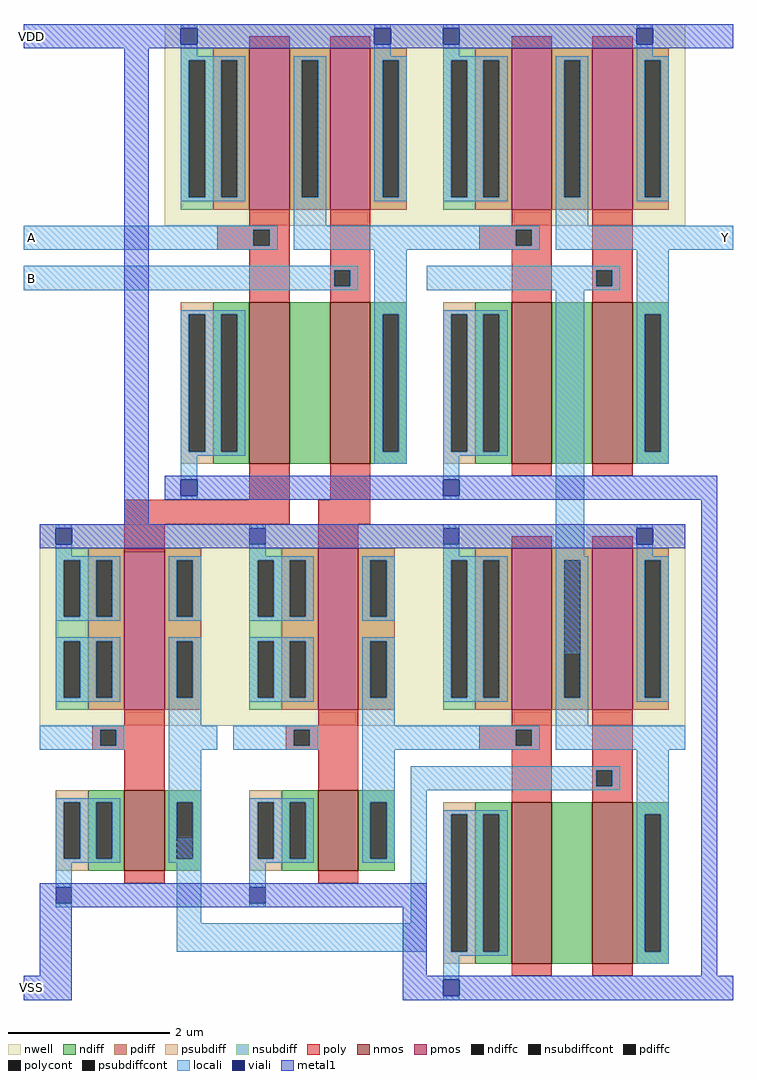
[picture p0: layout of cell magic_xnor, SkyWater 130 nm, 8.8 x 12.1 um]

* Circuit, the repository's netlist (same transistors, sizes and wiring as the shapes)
* NGSPICE file created from magic_xnor.ext - technology: sky130A

.subckt magic_nand A B Y VDD VSS
X0 Y A VDD VDD sky130_fd_pr__pfet_01v8 ad=0.5 pd=2.5 as=0.9 ps=4.9 w=2 l=0.5
**devattr s=36000,980 d=20000,500
X1 Y B a_100_n230# VSS sky130_fd_pr__nfet_01v8 ad=0.9 pd=4.9 as=0.5 ps=2.5 w=2 l=0.5
**devattr s=20000,500 d=36000,980
X2 a_100_n230# A VSS VSS sky130_fd_pr__nfet_01v8 ad=0.5 pd=2.5 as=0.9 ps=4.9 w=2 l=0.5
**devattr s=36000,980 d=20000,500
X3 VDD B Y VDD sky130_fd_pr__pfet_01v8 ad=0.9 pd=4.9 as=0.5 ps=2.5 w=2 l=0.5
**devattr s=20000,500 d=36000,980
.ends

.subckt magic_inv X Y VDD VSS
X0 Y X VDD VDD sky130_fd_pr__pfet_01v8 ad=0.9 pd=4.9 as=0.9 ps=4.9 w=2 l=0.5
**devattr s=36000,980 d=36000,980
X1 Y X VSS VSS sky130_fd_pr__nfet_01v8 ad=0.45 pd=2.9 as=0.45 ps=2.9 w=1 l=0.5
**devattr s=18000,580 d=18000,580
.ends

*.subckt magic_xnor A B Y VDD VSS
Xmagic_nand_0 magic_nand_1/Y magic_nand_2/Y Y VDD VSS magic_nand
Xmagic_nand_1 A B magic_nand_1/Y VDD VSS magic_nand
Xmagic_nand_2 magic_inv_0/Y magic_inv_1/Y magic_nand_2/Y VDD VSS magic_nand
Xmagic_inv_0 B magic_inv_0/Y VDD VSS magic_inv
Xmagic_inv_1 A magic_inv_1/Y VDD VSS magic_inv
*.ends

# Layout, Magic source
magic
tech sky130A
<< nwell >>
rect -25 340 40 590
rect -280 -280 50 -30
<< poly >>
rect -220 0 -170 35
rect -120 0 -70 35
rect -375 -30 -170 0
rect -135 -30 -70 0
rect -375 -65 -325 -30
rect -135 -50 -85 -30
<< locali >>
rect -500 310 -325 340
rect -20 310 30 340
rect 315 310 380 340
rect -500 260 -325 290
rect 160 -190 195 290
rect -35 -310 15 -280
rect -310 -525 -280 -420
rect -20 -525 0 -330
rect -310 -560 0 -525
<< metal1 >>
rect -500 560 -310 590
rect -30 560 20 590
rect 320 560 380 590
rect -375 -60 -345 560
rect 325 0 360 30
rect -275 -60 65 -30
rect -480 -590 -440 -475
rect -370 -505 0 -475
rect -500 -620 -440 -590
rect -30 -620 0 -505
rect 340 -590 360 0
rect 320 -620 380 -590
use magic_inv  magic_inv_0
transform 1 0 -135 0 1 -460
box -105 -45 115 430
use magic_inv  magic_inv_1
transform 1 0 -375 0 1 -460
box -105 -45 115 430
use magic_nand  magic_nand_0
transform 1 0 105 0 1 160
box -105 -160 220 430
use magic_nand  magic_nand_1
transform 1 0 -220 0 1 160
box -105 -160 220 430
use magic_nand  magic_nand_2
transform 1 0 105 0 1 -460
box -105 -160 220 430
<< labels >>
rlabel locali -500 310 -480 340 7 A
port 1 w
rlabel locali -500 260 -480 290 7 B
port 2 w
rlabel locali 360 310 380 340 3 Y
port 3 e
rlabel metal1 -500 560 -480 590 7 VDD
port 4 w
rlabel metal1 -500 -620 -480 -590 7 VSS
port 5 w
<< end >>

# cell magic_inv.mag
magic
tech sky130A
<< nwell >>
rect -105 180 115 430
<< nmos >>
rect 0 0 50 100
<< pmos >>
rect 0 200 50 400
<< ndiff >>
rect -45 85 0 100
rect -45 15 -35 85
rect -15 15 0 85
rect -45 0 0 15
rect 50 85 95 100
rect 50 15 65 85
rect 85 15 95 85
rect 50 0 95 15
<< pdiff >>
rect -45 385 0 400
rect -45 315 -35 385
rect -15 315 0 385
rect -45 285 0 315
rect -45 215 -35 285
rect -15 215 0 285
rect -45 200 0 215
rect 50 385 95 400
rect 50 315 65 385
rect 85 315 95 385
rect 50 285 95 315
rect 50 215 65 285
rect 85 215 95 285
rect 50 200 95 215
<< ndiffc >>
rect -35 15 -15 85
rect 65 15 85 85
<< pdiffc >>
rect -35 315 -15 385
rect -35 215 -15 285
rect 65 315 85 385
rect 65 215 85 285
<< psubdiff >>
rect -85 85 -45 100
rect -85 15 -75 85
rect -55 15 -45 85
rect -85 0 -45 15
<< nsubdiff >>
rect -85 385 -45 400
rect -85 315 -75 385
rect -55 315 -45 385
rect -85 285 -45 315
rect -85 215 -75 285
rect -55 215 -45 285
rect -85 200 -45 215
<< psubdiffcont >>
rect -75 15 -55 85
<< nsubdiffcont >>
rect -75 315 -55 385
rect -75 215 -55 285
<< poly >>
rect 0 400 50 415
rect 0 180 50 200
rect -40 175 50 180
rect -40 155 -30 175
rect -10 155 50 175
rect -40 150 50 155
rect 0 100 50 150
rect 0 -15 50 0
<< polycont >>
rect -30 155 -10 175
<< locali >>
rect -85 425 -65 430
rect -85 390 -65 405
rect -85 385 -5 390
rect -85 315 -75 385
rect -55 315 -35 385
rect -15 315 -5 385
rect -85 310 -5 315
rect 55 385 95 390
rect 55 315 65 385
rect 85 315 95 385
rect 55 310 95 315
rect -85 285 -5 290
rect -85 215 -75 285
rect -55 215 -35 285
rect -15 215 -5 285
rect -85 210 -5 215
rect 55 285 95 290
rect 55 215 65 285
rect 85 215 95 285
rect 55 180 95 215
rect -105 175 0 180
rect -105 155 -30 175
rect -10 155 0 175
rect -105 150 0 155
rect 55 150 115 180
rect -85 85 -5 90
rect -85 15 -75 85
rect -55 15 -35 85
rect -15 15 -5 85
rect -85 10 -5 15
rect 55 85 95 150
rect 55 15 65 85
rect 85 15 95 85
rect 55 10 95 15
rect -85 -20 -65 10
rect -85 -45 -65 -40
<< viali >>
rect -85 405 -65 425
rect -85 -40 -65 -20
<< metal1 >>
rect -105 425 115 430
rect -105 405 -85 425
rect -65 405 115 425
rect -105 400 115 405
rect -105 -20 115 -15
rect -105 -40 -85 -20
rect -65 -40 115 -20
rect -105 -45 115 -40
<< labels >>
rlabel locali -105 150 -85 180 7 X
port 1 w
rlabel locali 95 150 115 180 3 Y
port 2 e
rlabel metal1 -105 400 -85 430 7 VDD
port 3 w
rlabel metal1 -105 -45 -85 -15 7 VSS
port 4 w
<< end >>

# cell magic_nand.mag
magic
tech sky130A
<< nwell >>
rect -105 180 215 430
<< nmos >>
rect 0 -115 50 85
rect 100 -115 150 85
<< pmos >>
rect 0 200 50 400
rect 100 200 150 400
<< ndiff >>
rect -45 70 0 85
rect -45 -100 -35 70
rect -15 -100 0 70
rect -45 -115 0 -100
rect 50 -115 100 85
rect 150 70 195 85
rect 150 -100 165 70
rect 185 -100 195 70
rect 150 -115 195 -100
<< pdiff >>
rect -45 385 0 400
rect -45 215 -35 385
rect -15 215 0 385
rect -45 200 0 215
rect 50 385 100 400
rect 50 215 65 385
rect 85 215 100 385
rect 50 200 100 215
rect 150 385 195 400
rect 150 215 165 385
rect 185 215 195 385
rect 150 200 195 215
<< ndiffc >>
rect -35 -100 -15 70
rect 165 -100 185 70
<< pdiffc >>
rect -35 215 -15 385
rect 65 215 85 385
rect 165 215 185 385
<< psubdiff >>
rect -85 70 -45 85
rect -85 -100 -75 70
rect -55 -100 -45 70
rect -85 -115 -45 -100
<< nsubdiff >>
rect -85 385 -45 400
rect -85 215 -75 385
rect -55 215 -45 385
rect -85 200 -45 215
<< psubdiffcont >>
rect -75 -100 -55 70
<< nsubdiffcont >>
rect -75 215 -55 385
<< poly >>
rect 0 400 50 415
rect 100 400 150 415
rect 0 180 50 200
rect -40 175 50 180
rect -40 155 5 175
rect 25 155 50 175
rect -40 150 50 155
rect 0 85 50 150
rect 100 125 150 200
rect 100 105 105 125
rect 125 105 150 125
rect 100 85 150 105
rect 0 -130 50 -115
rect 100 -130 150 -115
<< polycont >>
rect 5 155 25 175
rect 105 105 125 125
<< locali >>
rect -85 425 -65 430
rect -85 390 -65 405
rect 155 425 175 430
rect 155 390 175 405
rect -85 385 -5 390
rect -85 215 -75 385
rect -55 215 -35 385
rect -15 215 -5 385
rect -85 210 -5 215
rect 55 385 95 390
rect 55 215 65 385
rect 85 215 95 385
rect 55 180 95 215
rect 155 385 195 390
rect 155 215 165 385
rect 185 215 195 385
rect 155 210 195 215
rect -105 175 35 180
rect -105 155 5 175
rect 25 155 35 175
rect -105 150 35 155
rect 55 150 215 180
rect -105 125 135 130
rect -105 105 105 125
rect 125 105 135 125
rect -105 100 135 105
rect -85 70 -5 75
rect -85 -100 -75 70
rect -55 -100 -35 70
rect -15 -100 -5 70
rect -85 -105 -5 -100
rect 155 70 195 150
rect 155 -100 165 70
rect 185 -100 195 70
rect -85 -135 -65 -105
rect 155 -115 195 -100
rect -85 -160 -65 -155
<< viali >>
rect -85 405 -65 425
rect 155 405 175 425
rect -85 -155 -65 -135
<< metal1 >>
rect -105 425 215 430
rect -105 405 -85 425
rect -65 405 155 425
rect 175 405 215 425
rect -105 400 215 405
rect -105 -135 220 -130
rect -105 -155 -85 -135
rect -65 -155 220 -135
rect -105 -160 220 -155
<< labels >>
rlabel locali -105 150 -85 180 7 A
port 1 w
rlabel locali -105 100 -85 130 7 B
port 2 w
rlabel locali 195 150 215 180 3 Y
port 3 e
rlabel metal1 -105 400 -85 430 7 VDD
port 4 w
rlabel metal1 -105 -160 -85 -130 7 VSS
port 5 w
<< end >>
